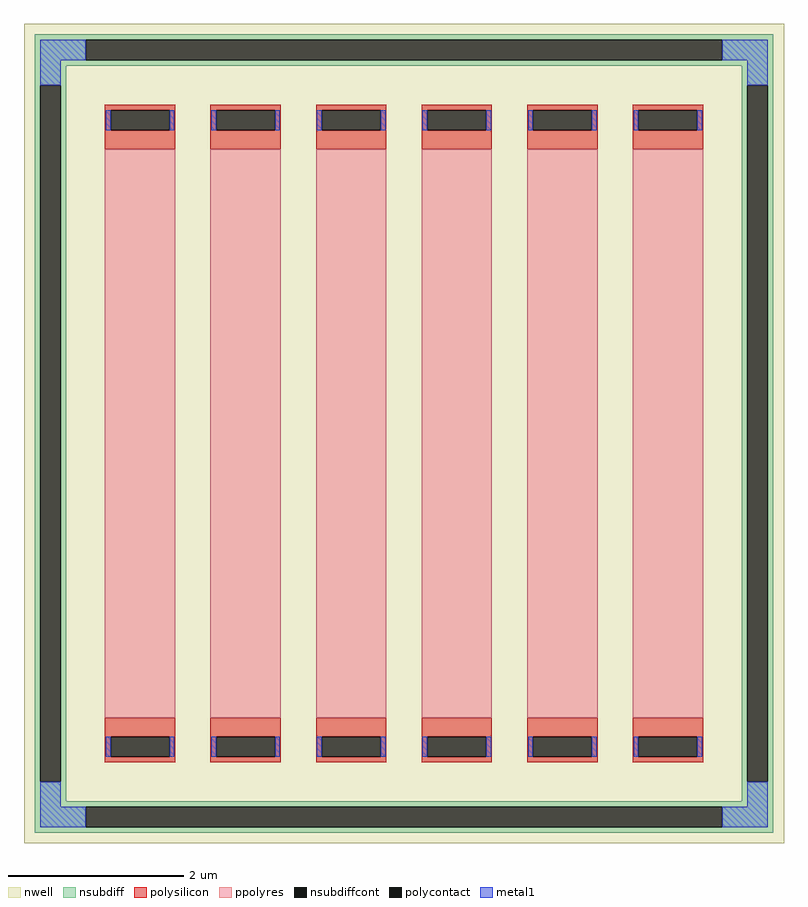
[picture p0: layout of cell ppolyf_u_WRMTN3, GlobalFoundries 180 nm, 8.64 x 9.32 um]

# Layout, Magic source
magic
tech gf180mcuC
magscale 1 10
<< nwell >>
rect -864 -932 864 932
<< nsubdiff >>
rect -840 895 840 908
rect -840 849 -724 895
rect 724 849 840 895
rect -840 836 840 849
rect -840 792 -768 836
rect -840 -792 -827 792
rect -781 -792 -768 792
rect 768 792 840 836
rect -840 -836 -768 -792
rect 768 -792 781 792
rect 827 -792 840 792
rect 768 -836 840 -792
rect -840 -849 840 -836
rect -840 -895 -724 -849
rect 724 -895 840 -849
rect -840 -908 840 -895
<< nsubdiffcont >>
rect -724 849 724 895
rect -827 -792 -781 792
rect 781 -792 827 792
rect -724 -895 724 -849
<< polysilicon >>
rect -680 735 -520 748
rect -680 689 -667 735
rect -533 689 -520 735
rect -680 646 -520 689
rect -680 -689 -520 -646
rect -680 -735 -667 -689
rect -533 -735 -520 -689
rect -680 -748 -520 -735
rect -440 735 -280 748
rect -440 689 -427 735
rect -293 689 -280 735
rect -440 646 -280 689
rect -440 -689 -280 -646
rect -440 -735 -427 -689
rect -293 -735 -280 -689
rect -440 -748 -280 -735
rect -200 735 -40 748
rect -200 689 -187 735
rect -53 689 -40 735
rect -200 646 -40 689
rect -200 -689 -40 -646
rect -200 -735 -187 -689
rect -53 -735 -40 -689
rect -200 -748 -40 -735
rect 40 735 200 748
rect 40 689 53 735
rect 187 689 200 735
rect 40 646 200 689
rect 40 -689 200 -646
rect 40 -735 53 -689
rect 187 -735 200 -689
rect 40 -748 200 -735
rect 280 735 440 748
rect 280 689 293 735
rect 427 689 440 735
rect 280 646 440 689
rect 280 -689 440 -646
rect 280 -735 293 -689
rect 427 -735 440 -689
rect 280 -748 440 -735
rect 520 735 680 748
rect 520 689 533 735
rect 667 689 680 735
rect 520 646 680 689
rect 520 -689 680 -646
rect 520 -735 533 -689
rect 667 -735 680 -689
rect 520 -748 680 -735
<< polycontact >>
rect -667 689 -533 735
rect -667 -735 -533 -689
rect -427 689 -293 735
rect -427 -735 -293 -689
rect -187 689 -53 735
rect -187 -735 -53 -689
rect 53 689 187 735
rect 53 -735 187 -689
rect 293 689 427 735
rect 293 -735 427 -689
rect 533 689 667 735
rect 533 -735 667 -689
<< ppolyres >>
rect -680 -646 -520 646
rect -440 -646 -280 646
rect -200 -646 -40 646
rect 40 -646 200 646
rect 280 -646 440 646
rect 520 -646 680 646
<< metal1 >>
rect -827 849 -724 895
rect 724 849 827 895
rect -827 792 -781 849
rect 781 792 827 849
rect -678 689 -667 735
rect -533 689 -522 735
rect -438 689 -427 735
rect -293 689 -282 735
rect -198 689 -187 735
rect -53 689 -42 735
rect 42 689 53 735
rect 187 689 198 735
rect 282 689 293 735
rect 427 689 438 735
rect 522 689 533 735
rect 667 689 678 735
rect -678 -735 -667 -689
rect -533 -735 -522 -689
rect -438 -735 -427 -689
rect -293 -735 -282 -689
rect -198 -735 -187 -689
rect -53 -735 -42 -689
rect 42 -735 53 -689
rect 187 -735 198 -689
rect 282 -735 293 -689
rect 427 -735 438 -689
rect 522 -735 533 -689
rect 667 -735 678 -689
rect -827 -849 -781 -792
rect 781 -849 827 -792
rect -827 -895 -724 -849
rect 724 -895 827 -849
<< properties >>
string FIXED_BBOX -804 -872 804 872
string gencell ppolyf_u
string library gf180mcu
string parameters w 0.8 l 6.459 m 1 nx 6 wmin 0.80 lmin 1.00 rho 315 val 2.787k dummy 0 dw 0.07 term 0.0 sterm 0.0 caplen 0.4 snake 0 glc 1 grc 1 gtc 1 gbc 1 roverlap 0 endcov 100 full_metal 1
<< end >>
